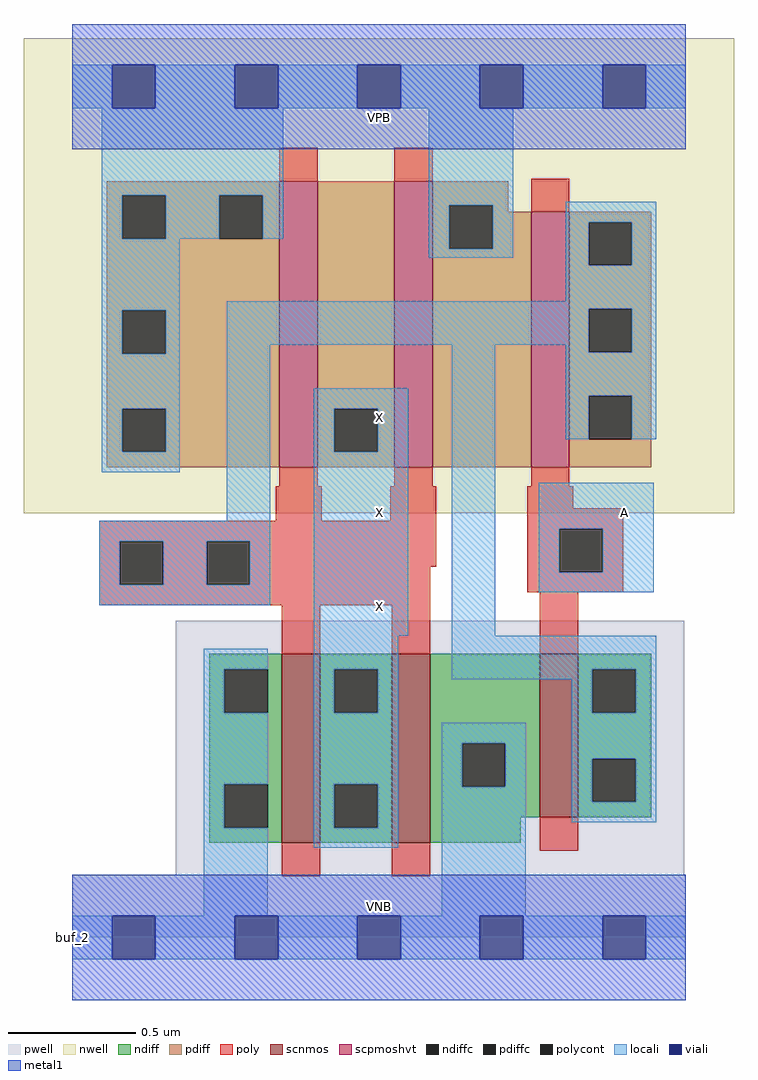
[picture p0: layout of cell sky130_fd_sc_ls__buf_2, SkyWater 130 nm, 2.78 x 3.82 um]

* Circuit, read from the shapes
.subckt sky130_fd_sc_ls__buf_2 A VGND VNB VPB VPWR X
XM1 X n1 VGND VNB sky130_fd_pr__nfet_01v8 w=0.74 l=0.15 m=2
XM2 n1 A VGND VNB sky130_fd_pr__nfet_01v8 w=0.64 l=0.15
XM3 X n1 VPWR VPB sky130_fd_pr__pfet_01v8_hvt w=1.12 l=0.15 m=2
XM4 n1 A VPWR VPB sky130_fd_pr__pfet_01v8_hvt w=1 l=0.15
.ends

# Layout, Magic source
magic
tech sky130A
magscale 1 2
<< nwell >>
rect -38 332 518 704
<< pwell >>
rect 81 49 479 248
rect 0 0 480 49
<< scnmos >>
rect 164 74 194 222
rect 250 74 280 222
rect 366 94 396 222
<< scpmoshvt >>
rect 162 368 192 592
rect 252 368 282 592
rect 359 368 389 568
<< ndiff >>
rect 107 210 164 222
rect 107 176 119 210
rect 153 176 164 210
rect 107 120 164 176
rect 107 86 119 120
rect 153 86 164 120
rect 107 74 164 86
rect 194 210 250 222
rect 194 176 205 210
rect 239 176 250 210
rect 194 120 250 176
rect 194 86 205 120
rect 239 86 250 120
rect 194 74 250 86
rect 280 152 366 222
rect 280 118 305 152
rect 339 118 366 152
rect 280 94 366 118
rect 396 210 453 222
rect 396 176 407 210
rect 441 176 453 210
rect 396 140 453 176
rect 396 106 407 140
rect 441 106 453 140
rect 396 94 453 106
rect 280 74 351 94
<< pdiff >>
rect 27 581 162 592
rect 27 547 39 581
rect 73 547 115 581
rect 149 547 162 581
rect 27 491 162 547
rect 27 457 39 491
rect 73 457 162 491
rect 27 414 162 457
rect 27 380 39 414
rect 73 380 162 414
rect 27 368 162 380
rect 192 414 252 592
rect 192 380 205 414
rect 239 380 252 414
rect 192 368 252 380
rect 282 573 341 592
rect 282 539 295 573
rect 329 568 341 573
rect 329 539 359 568
rect 282 368 359 539
rect 389 560 453 568
rect 389 526 404 560
rect 438 526 453 560
rect 389 492 453 526
rect 389 458 404 492
rect 438 458 453 492
rect 389 424 453 458
rect 389 390 404 424
rect 438 390 453 424
rect 389 368 453 390
<< ndiffc >>
rect 119 176 153 210
rect 119 86 153 120
rect 205 176 239 210
rect 205 86 239 120
rect 305 118 339 152
rect 407 176 441 210
rect 407 106 441 140
<< pdiffc >>
rect 39 547 73 581
rect 115 547 149 581
rect 39 457 73 491
rect 39 380 73 414
rect 205 380 239 414
rect 295 539 329 573
rect 404 526 438 560
rect 404 458 438 492
rect 404 390 438 424
<< poly >>
rect 162 592 192 618
rect 252 592 282 618
rect 359 568 389 594
rect 162 353 192 368
rect 252 353 282 368
rect 359 353 389 368
rect 159 326 195 353
rect 249 326 285 353
rect 21 310 285 326
rect 21 276 37 310
rect 71 276 105 310
rect 139 290 285 310
rect 356 336 392 353
rect 356 320 431 336
rect 139 276 280 290
rect 21 260 280 276
rect 356 286 381 320
rect 415 286 431 320
rect 356 270 431 286
rect 164 222 194 260
rect 250 222 280 260
rect 366 222 396 270
rect 164 48 194 74
rect 250 48 280 74
rect 366 68 396 94
<< polycont >>
rect 37 276 71 310
rect 105 276 139 310
rect 381 286 415 320
<< locali >>
rect 0 649 31 683
rect 65 649 127 683
rect 161 649 223 683
rect 257 649 319 683
rect 353 649 415 683
rect 449 649 480 683
rect 23 581 165 649
rect 23 547 39 581
rect 73 547 115 581
rect 149 547 165 581
rect 279 573 345 649
rect 23 491 84 547
rect 279 539 295 573
rect 329 539 345 573
rect 279 532 345 539
rect 386 560 457 576
rect 386 526 404 560
rect 438 526 457 560
rect 386 498 457 526
rect 23 457 39 491
rect 73 457 84 491
rect 23 414 84 457
rect 23 380 39 414
rect 73 380 84 414
rect 23 364 84 380
rect 121 492 457 498
rect 121 464 404 492
rect 121 326 155 464
rect 21 310 155 326
rect 21 276 37 310
rect 71 276 105 310
rect 139 276 155 310
rect 21 260 155 276
rect 189 414 263 430
rect 189 380 205 414
rect 239 380 263 414
rect 189 236 263 380
rect 297 236 331 464
rect 386 458 404 464
rect 438 458 457 492
rect 386 424 457 458
rect 386 390 404 424
rect 438 390 457 424
rect 365 320 455 356
rect 365 286 381 320
rect 415 286 455 320
rect 365 270 455 286
rect 103 210 153 226
rect 103 176 119 210
rect 103 120 153 176
rect 103 86 119 120
rect 103 17 153 86
rect 189 210 255 236
rect 189 176 205 210
rect 239 176 255 210
rect 297 210 457 236
rect 297 202 407 210
rect 189 120 255 176
rect 391 176 407 202
rect 441 176 457 210
rect 189 86 205 120
rect 239 86 255 120
rect 189 70 255 86
rect 289 152 355 168
rect 289 118 305 152
rect 339 118 355 152
rect 289 17 355 118
rect 391 140 457 176
rect 391 106 407 140
rect 441 106 457 140
rect 391 90 457 106
rect 0 -17 31 17
rect 65 -17 127 17
rect 161 -17 223 17
rect 257 -17 319 17
rect 353 -17 415 17
rect 449 -17 480 17
<< viali >>
rect 31 649 65 683
rect 127 649 161 683
rect 223 649 257 683
rect 319 649 353 683
rect 415 649 449 683
rect 31 -17 65 17
rect 127 -17 161 17
rect 223 -17 257 17
rect 319 -17 353 17
rect 415 -17 449 17
<< metal1 >>
rect 0 683 480 715
rect 0 649 31 683
rect 65 649 127 683
rect 161 649 223 683
rect 257 649 319 683
rect 353 649 415 683
rect 449 649 480 683
rect 0 617 480 649
rect 0 17 480 49
rect 0 -17 31 17
rect 65 -17 127 17
rect 161 -17 223 17
rect 257 -17 319 17
rect 353 -17 415 17
rect 449 -17 480 17
rect 0 -49 480 -17
<< labels >>
rlabel comment s 0 0 0 0 4 buf_2
flabel pwell s 0 0 480 49 0 FreeSans 200 0 0 0 VNB
port 3 nsew ground bidirectional
flabel nwell s 0 617 480 666 0 FreeSans 200 0 0 0 VPB
port 4 nsew power bidirectional
flabel metal1 s 0 617 480 666 0 FreeSans 340 0 0 0 VPWR
port 5 nsew power bidirectional abutment
flabel metal1 s 0 0 480 49 0 FreeSans 340 0 0 0 VGND
port 2 nsew ground bidirectional abutment
flabel locali s 415 316 449 350 0 FreeSans 340 0 0 0 A
port 1 nsew signal input
flabel locali s 223 242 257 276 0 FreeSans 340 0 0 0 X
port 6 nsew signal output
flabel locali s 223 316 257 350 0 FreeSans 340 0 0 0 X
port 6 nsew signal output
flabel locali s 223 390 257 424 0 FreeSans 340 0 0 0 X
port 6 nsew signal output
<< properties >>
string LEFsite unit
string LEFclass CORE
string FIXED_BBOX 0 0 480 666
string GDS_FILE $PDKPATH/libs.ref/sky130_fd_sc_ls/gds/sky130_fd_sc_ls.gds
string LEFsymmetry X Y
string GDS_END 3023898
string GDS_START 3019206
<< end >>
